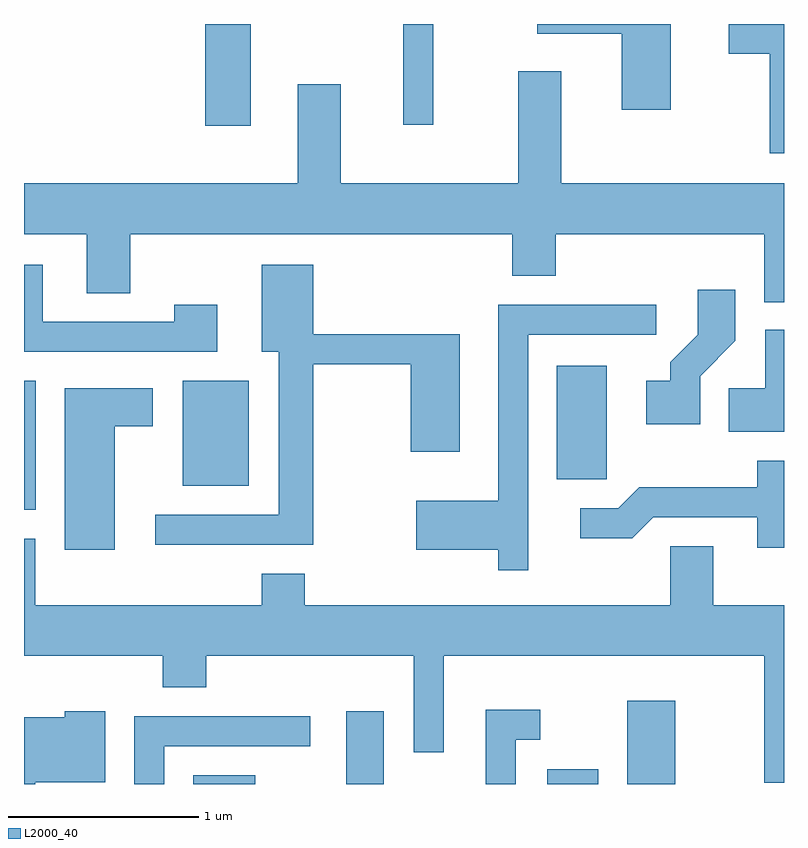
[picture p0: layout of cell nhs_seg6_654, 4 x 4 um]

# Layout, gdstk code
import gdstk
lib = gdstk.Library(unit=1e-6, precision=1e-09)
def R(c, l, rs):  # rectangles x0, y0, x1, y1
    for r in rs: c.add(gdstk.rectangle(r[:2], r[2:], *l))
def P(c, l, *ps):  # polygons
    for p in ps: c.add(gdstk.Polygon(p, *l))
L2000_40 = (2000, 40)

nhs_seg6_654 = lib.new_cell('nhs_seg6_654')
R(nhs_seg6_654, L2000_40, [(204.501,1638.162,204.829,1638.209), (205.306,1638.162,205.504,1638.544), (206.366,1638.162,206.634,1638.239), (206.786,1638.162,207.039,1638.599), (203.611,1639.606,203.674,1640.284), (204.446,1639.731,204.794,1640.284), (206.416,1639.766,206.679,1640.364), (204.566,1641.626,204.804,1642.162), (205.606,1641.633,205.764,1642.162)])
P(nhs_seg6_654, L2000_40, [(207.014,1642.162),(206.313,1642.162),(206.313,1642.111),(206.756,1642.111),(206.756,1641.711),(207.014,1641.711)],
  [(207.611,1642.162),(207.321,1642.162),(207.321,1642.006),(207.536,1642.006),(207.536,1641.481),(207.611,1641.481)],
  [(207.611,1641.324),(206.439,1641.324),(206.439,1641.914),(206.211,1641.914),(206.211,1641.324),(205.279,1641.324),(205.279,1641.844),(205.051,1641.844),(205.051,1641.324),(203.611,1641.324),(203.611,1641.056),(203.941,1641.056),(203.941,1640.746),(204.169,1640.746),(204.169,1641.056),(206.181,1641.056),(206.181,1640.836),(206.409,1640.836),(206.409,1641.056),(207.506,1641.056),(207.506,1640.698),(207.611,1640.698)],
  [(204.629,1640.684),(204.401,1640.684),(204.401,1640.594),(203.709,1640.594),(203.709,1640.894),(203.611,1640.894),(203.611,1640.436),(204.629,1640.436)],
  [(205.134,1640.371),(205.646,1640.371),(205.646,1639.911),(205.904,1639.911),(205.904,1640.529),(205.134,1640.529),(205.134,1640.894),(204.861,1640.894),(204.861,1640.436),(204.951,1640.436),(204.951,1639.579),(204.303,1639.579),(204.303,1639.421),(205.134,1639.421)],
  [(207.169,1640.309),(207.354,1640.494),(207.354,1640.764),(207.156,1640.764),(207.156,1640.527),(207.011,1640.382),(207.011,1640.284),(206.886,1640.284),(206.886,1640.056),(207.169,1640.056)],
  [(206.264,1640.526),(206.938,1640.526),(206.938,1640.684),(206.106,1640.684),(206.106,1639.654),(205.676,1639.654),(205.676,1639.396),(206.106,1639.396),(206.106,1639.288),(206.264,1639.288)],
  [(207.611,1640.554),(207.511,1640.554),(207.511,1640.244),(207.321,1640.244),(207.321,1640.016),(207.611,1640.016)],
  [(204.089,1640.046),(204.289,1640.046),(204.289,1640.244),(203.826,1640.244),(203.826,1639.396),(204.089,1639.396)],
  [(207.611,1639.864),(207.471,1639.864),(207.471,1639.724),(206.849,1639.724),(206.739,1639.614),(206.538,1639.614),(206.538,1639.456),(206.812,1639.456),(206.922,1639.566),(207.471,1639.566),(207.471,1639.406),(207.611,1639.406)],
  [(207.611,1639.104),(207.239,1639.104),(207.239,1639.414),(207.011,1639.414),(207.011,1639.104),(205.089,1639.104),(205.089,1639.269),(204.861,1639.269),(204.861,1639.104),(203.669,1639.104),(203.669,1639.454),(203.611,1639.454),(203.611,1638.836),(204.341,1638.836),(204.341,1638.671),(204.569,1638.671),(204.569,1638.836),(205.661,1638.836),(205.661,1638.328),(205.819,1638.328),(205.819,1638.836),(207.506,1638.836),(207.506,1638.168),(207.611,1638.168)],
  [(206.199,1638.396),(206.328,1638.396),(206.328,1638.554),(206.041,1638.554),(206.041,1638.162),(206.199,1638.162)],
  [(203.669,1638.171),(204.039,1638.171),(204.039,1638.544),(203.826,1638.544),(203.826,1638.514),(203.611,1638.514),(203.611,1638.162),(203.669,1638.162)],
  [(204.349,1638.361),(205.118,1638.361),(205.118,1638.519),(204.191,1638.519),(204.191,1638.162),(204.349,1638.162)])

lib.write_gds('nhs_seg6_654.gds')
